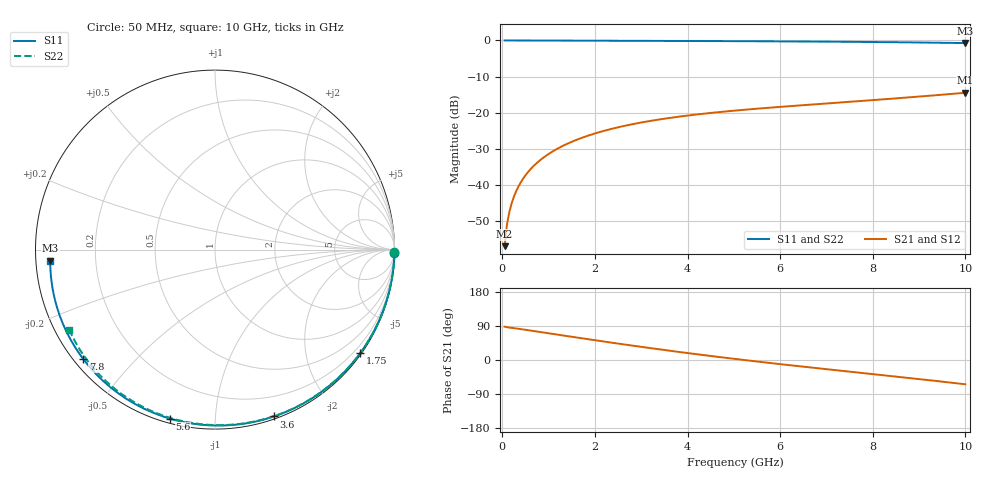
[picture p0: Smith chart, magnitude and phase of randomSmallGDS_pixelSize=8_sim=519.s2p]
! freq	dB(S11)	phase(S11)	dB(S12)	phase(S12)
!  dB(S21)	phase(S21)	dB(S22)	phase(S22)
!S-par simulation data
#  GHz  S  DB  R 50
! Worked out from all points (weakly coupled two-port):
!   200 points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, 50 MHz to 10 GHz, reference 50 ohm
!   highest |S21| = -14.48 dB at 10 GHz (marker M1); lowest = -57.0 dB at 50 MHz (marker M2)
!   lowest |S11| = -0.7 dB at 10 GHz (marker M3), VSWR 24.04, Z = 2.08 - j1.7 ohm
!   |S11| at or under -10 dB: nowhere
!   |S22| runs from -0.7 to 0.0 dB; largest |S21 - S12| = 0
!   S11 on the Smith chart (normalised r, x): 50 MHz: open; 1.75 GHz: 0.03, -3.12; 3.6 GHz: 0.02, -1.41; 5.6 GHz: 0.02, -0.77; 7.8 GHz: 0.03, -0.36; 10 GHz: 0.04, -0.03
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0.05  -0.00 -1.0  -56.96 88.0  -56.96 88.0  -0.00 -0.9
0.1  -0.00 -2.1  -51.06 86.6  -51.06 86.6  -0.00 -1.8
0.15  -0.00 -3.1  -47.63 85.7  -47.63 85.7  -0.00 -2.7
0.2  -0.00 -4.1  -45.19 84.9  -45.19 84.9  -0.00 -3.6
0.25  -0.00 -5.2  -43.28 84.1  -43.28 84.1  -0.00 -4.5
0.35  -0.01 -7.2  -40.41 82.4  -40.41 82.4  -0.01 -6.3
0.5  -0.01 -10.3  -37.34 79.7  -37.34 79.7  -0.01 -8.9
0.7  -0.02 -14.4  -34.46 76.1  -34.46 76.1  -0.02 -12.5
1  -0.03 -20.5  -31.43 70.5  -31.43 70.5  -0.02 -17.8
1.35  -0.04 -27.6  -28.92 64.0  -28.92 64.0  -0.04 -23.9
1.75  -0.05 -35.5  -26.81 56.7  -26.81 56.7  -0.05 -30.8
2.6  -0.08 -52.0  -23.75 41.5  -23.75 41.5  -0.08 -45.2
3.4  -0.11 -66.9  -21.86 28.0  -21.86 28.0  -0.10 -58.3
3.6  -0.12 -70.6  -21.48 24.7  -21.48 24.7  -0.11 -61.5
4.3  -0.15 -83.0  -20.35 13.7  -20.35 13.7  -0.14 -72.4
5.05  -0.19 -95.8  -19.39 2.4  -19.39 2.4  -0.17 -83.7
5.6  -0.22 -105.0  -18.79 -5.4  -18.79 -5.4  -0.20 -91.7
6.7  -0.30 -122.8  -17.73 -20.3  -17.73 -20.3  -0.27 -107.2
7.8  -0.41 -140.2  -16.71 -34.6  -16.71 -34.6  -0.37 -122.1
8.35  -0.47 -148.9  -16.19 -41.7  -16.19 -41.7  -0.43 -129.4
9.2  -0.59 -162.7  -15.33 -53.0  -15.33 -53.0  -0.54 -140.7
10  -0.72 -176.1  -14.48 -64.1  -14.48 -64.1  -0.66 -151.3
